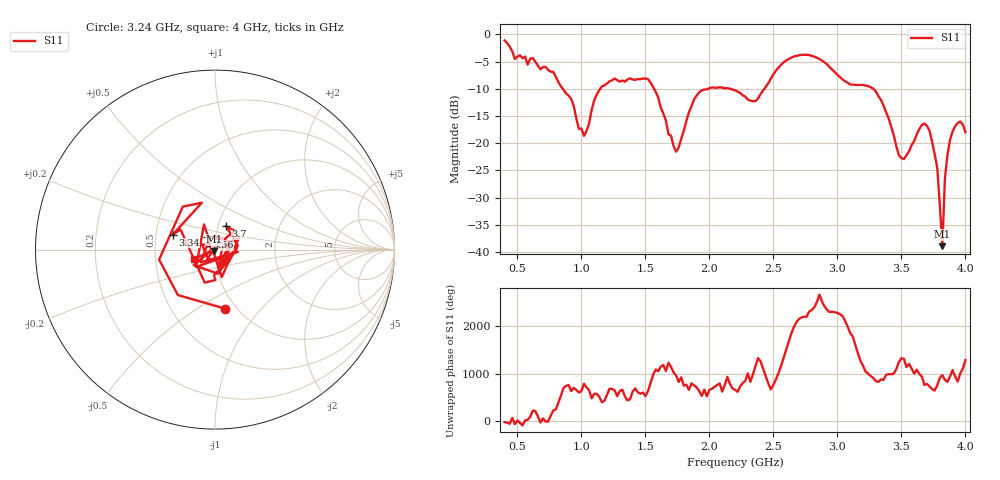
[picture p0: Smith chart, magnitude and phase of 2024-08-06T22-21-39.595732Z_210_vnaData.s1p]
!Created with skrf (http://scikit-rf.org).
# Hz S RI R 50.0
!freq ReS11 ImS11
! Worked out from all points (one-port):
!   181 points, 400 MHz to 4 GHz, reference 50 ohm
!   lowest |S11| = -38.9 dB at 3.82 GHz (marker M1), VSWR 1.02, Z = 49.6 - j1.04 ohm
!   |S11| at or under -10 dB: 854.1 MHz to 1.148 GHz (293.5 MHz wide, 29.3 % of centre); 1.568 GHz to 1.99 GHz (422.8 MHz wide, 23.8 % of centre); 3.28 GHz to end of sweep (the widest 3 of 4)
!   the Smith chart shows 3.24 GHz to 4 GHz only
!   S11 on the Smith chart (normalised r, x): 3.24 GHz: 0.89, -0.66; 3.34 GHz: 0.61, +0.11; 3.56 GHz: 0.90, +0.13; 3.7 GHz: 1.09, +0.29; 4 GHz: 0.79, -0.08
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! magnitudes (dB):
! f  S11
! 400 MHz  -1.1
! 480 MHz  -4.5
! 620 MHz  -4.4
! 860 MHz  -10.2
! 1.02 GHz  -18.7
! 1.14 GHz  -10.3
! 1.3 GHz  -8.7
! 1.52 GHz  -8.2
! 1.6 GHz  -11.6
! 1.72 GHz  -20.5
! 1.76 GHz  -20.8
! 1.92 GHz  -10.7
! 2.2 GHz  -10.3
! 2.36 GHz  -12.3
! 2.66 GHz  -4.1
! 2.86 GHz  -4.5
! 3.1 GHz  -9.2
! 3.24 GHz  -9.5
! 3.34 GHz  -12.1
! 3.48 GHz  -22.2
! 3.56 GHz  -21.5
! 3.7 GHz  -16.8
! 3.78 GHz  -24.5
! 3.82 GHz  -38.9
! 3.84 GHz  -26.5
! 3.88 GHz  -19.4
! 3.96 GHz  -16.0
! 4 GHz  -18.0
